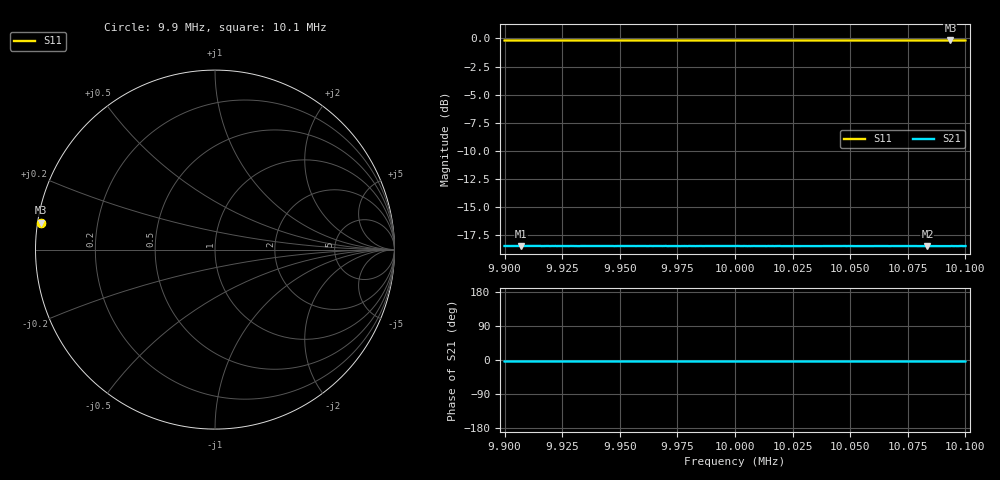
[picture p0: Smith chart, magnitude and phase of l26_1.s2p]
! NanoVNA-App
! Date: 2026-10-13 22:08:04
! Start: 9,9MHz Stop: 10,1MHz Points: 401
! S-Parameter data: F S11 S21 S12 S22
# Hz S RI R 50
!  Frequency  S11_Real  S11_Imag  S21_Real  S21_Imag  S12_Real  S12_Imag  S22_Real  S22_Imag
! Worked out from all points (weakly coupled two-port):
!   401 points, 9.9 MHz to 10.1 MHz, reference 50 ohm
!   highest |S21| = -18.42 dB at 9.907 MHz (marker M1); lowest = -18.4 dB at 10.084 MHz (marker M2)
!   lowest |S11| = -0.2 dB at 10.094 MHz (marker M3), VSWR 95.04, Z = 0.529 + j3.86 ohm
!   |S11| at or under -10 dB: nowhere
!   S12 and S22 are empty: the file has one direction only
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9900000  -0.9681 0.1478  0.1195 -0.00835  0 0  0 0
9907000  -0.9682 0.1479  0.1196 -0.00835  0 0  0 0
9911000  -0.9682 0.1478  0.1195 -0.00836  0 0  0 0
9914000  -0.9682 0.1478  0.1194 -0.00836  0 0  0 0
9918000  -0.9681 0.1479  0.1195 -0.00846  0 0  0 0
9927000  -0.9682 0.1481  0.1194 -0.00833  0 0  0 0
9929500  -0.9681 0.1482  0.1195 -0.00843  0 0  0 0
9933500  -0.9681 0.1481  0.1195 -0.00836  0 0  0 0
9967000  -0.968 0.1486  0.1194 -0.00838  0 0  0 0
9987000  -0.968 0.1491  0.1195 -0.00849  0 0  0 0
9996500  -0.968 0.1491  0.1194 -0.00839  0 0  0 0
1e7  -0.9679 0.1491  0.1194 -0.00837  0 0  0 0
1.00065e7  -0.9679 0.1492  0.1194 -0.00837  0 0  0 0
1.00335e7  -0.9678 0.1497  0.1193 -0.00843  0 0  0 0
1.00435e7  -0.9679 0.1499  0.1194 -0.00841  0 0  0 0
1.00515e7  -0.9679 0.1498  0.1194 -0.00839  0 0  0 0
1.0067e7  -0.9678 0.1501  0.1193 -0.00842  0 0  0 0
1.0075e7  -0.9678 0.1503  0.1194 -0.00844  0 0  0 0
1.00775e7  -0.9678 0.1503  0.1194 -0.0085  0 0  0 0
1.00835e7  -0.9677 0.1503  0.1193 -0.00845  0 0  0 0
1.00935e7  -0.9676 0.1504  0.1193 -0.00843  0 0  0 0
1.01e7  -0.9676 0.1506  0.1194 -0.0085  0 0  0 0
